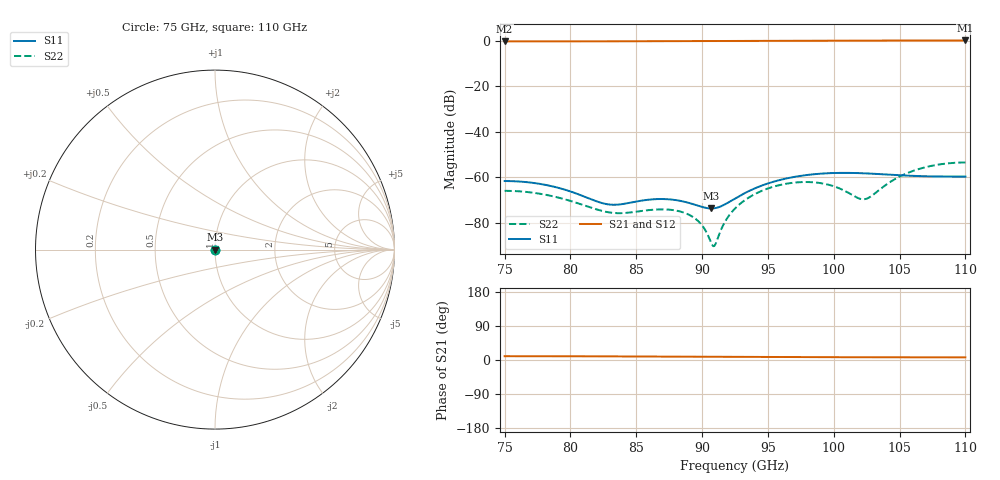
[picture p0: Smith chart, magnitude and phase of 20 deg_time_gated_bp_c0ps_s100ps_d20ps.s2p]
# Hz S RI R 50.000000
! Metas.Vna.Tools, 2.4.7724.19584
! Metas.Vna.Data, 2.4.7724.19560
! Created: UTC 2021.04.29 12:40:11
! FREQ  re:S1,1  im:S1,1  re:S2,1  im:S2,1  re:S1,2  im:S1,2  re:S2,2  im:S2,2
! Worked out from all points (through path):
!   1401 points, 75 GHz to 110 GHz, reference 50 ohm
!   highest |S21| = 0.08 dB at 110 GHz (marker M1); lowest = -0.3 dB at 75 GHz (marker M2)
!   group delay of S21, straight-line fit = 297 fs
!   lowest |S11| = -73.8 dB at 90.7 GHz (marker M3), VSWR 1.00, Z = 50 + j0.000232 ohm
!   |S11| at or under -10 dB: start of sweep to end of sweep
!   |S22| runs from -90.3 to -53.5 dB; largest |S21 - S12| = 0.043
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7.5e10  -0.000506 -0.000648  0.9469 0.1678  0.9478 0.1712  0.000317 0.000388
7.8025e10  -0.000469 -0.000498  0.9479 0.1667  0.9489 0.1697  0.000307 0.000279
8.085e10  -0.000359 -0.000164  0.9505 0.1638  0.9517 0.1658  0.000244 5.76e-05
8.315e10  -0.000216 0.000122  0.9537 0.1603  0.9552 0.1608  0.000128 -0.000105
8.6675e10  4.42e-05 0.000328  0.9603 0.1536  0.9624 0.1505  -7.89e-05 -0.000179
8.8275e10  0.00014 0.00027  0.9638 0.1503  0.9663 0.145  -0.00011 -0.00014
8.9075e10  0.000174 0.000204  0.9656 0.1486  0.9683 0.142  -9.73e-05 -0.000109
8.9875e10  0.000196 0.000115  0.9675 0.1469  0.9704 0.139  -6.22e-05 -7.36e-05
9.07e10  0.000205 2.32e-06  0.9695 0.1451  0.9725 0.1358  -2.42e-06 -3.55e-05
9.165e10  0.000196 -0.000148  0.9718 0.1431  0.9751 0.132  9.38e-05 7.49e-06
9.25e10  0.000169 -0.000294  0.9739 0.1414  0.9774 0.1285  0.0002 4.3e-05
9.3625e10  0.000109 -0.000495  0.9767 0.1391  0.9805 0.1239  0.000359 8.33e-05
9.5075e10  -7.05e-06 -0.00074  0.9802 0.1364  0.9845 0.118  0.000561 0.000123
9.67e10  -0.000175 -0.00096  0.9841 0.1335  0.9888 0.1115  0.000724 0.000155
9.835e10  -0.000364 -0.00109  0.9878 0.131  0.9929 0.1051  0.000752 0.000186
1.00025e11  -0.000553 -0.0011  0.9913 0.1287  0.9968 0.0991  0.000585 0.00023
1.02225e11  -0.00076 -0.000952  0.9953 0.1262  1.001 0.0922  5.81e-05 0.000322
1.02775e11  -0.000802 -0.000891  0.9961 0.1257  1.002 0.0906  -0.000118 0.000351
1.04175e11  -0.000889 -0.000709  0.9981 0.1246  1.005 0.0872  -0.000609 0.000432
1.05375e11  -0.000943 -0.000544  0.9995 0.1238  1.006 0.0847  -0.00104 0.000505
1.06775e11  -0.000983 -0.000367  1.001 0.1231  1.007 0.0825  -0.00149 0.000582
1.1e11  -0.00102 -0.00017  1.002 0.1225  1.009 0.0804  -0.00199 0.000668
